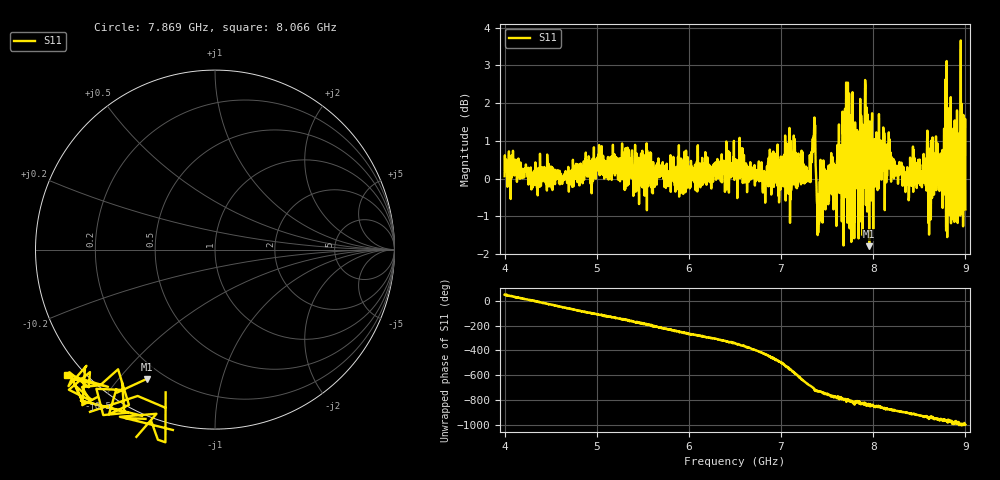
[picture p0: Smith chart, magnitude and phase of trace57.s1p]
! Created with skrf 1.8.0 (http://scikit-rf.org).
# Hz S RI R 50.0
!freq ReS11 ImS11
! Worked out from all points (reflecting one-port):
!   1601 points, 4 GHz to 9 GHz, reference 50 ohm
!   lowest |S11| = -1.8 dB at 7.956 GHz (marker M1), VSWR 9.75, Z = 6.97 - j29.7 ohm
!   phase of S11 starts at 51 deg and turns -1052 deg over the sweep
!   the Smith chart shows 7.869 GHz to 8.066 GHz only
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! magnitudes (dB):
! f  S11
! 4 GHz  0.1
! 4.625 GHz  -0.1
! 5.25 GHz  0.0
! 5.875 GHz  0.0
! 6.5 GHz  0.2
! 6.825 GHz  -0.1
! 7.069 GHz  0.0
! 7.125 GHz  0.7
! 7.294 GHz  -0.1
! 7.35 GHz  1.0
! 7.409 GHz  -0.9
! 7.444 GHz  -0.6
! 7.591 GHz  0.0
! 7.688 GHz  -0.5
! 7.741 GHz  1.2
! 7.75 GHz  -0.8
! 7.875 GHz  0.2
! 7.891 GHz  1.1
! 7.928 GHz  1.9
! 7.956 GHz  -1.8
! 8.097 GHz  0.3
! 8.375 GHz  -0.1
! 8.656 GHz  0.7
! 8.738 GHz  0.1
! 8.8 GHz  0.3
! 8.869 GHz  -0.8
! 8.959 GHz  2.0
! 9 GHz  -0.8
